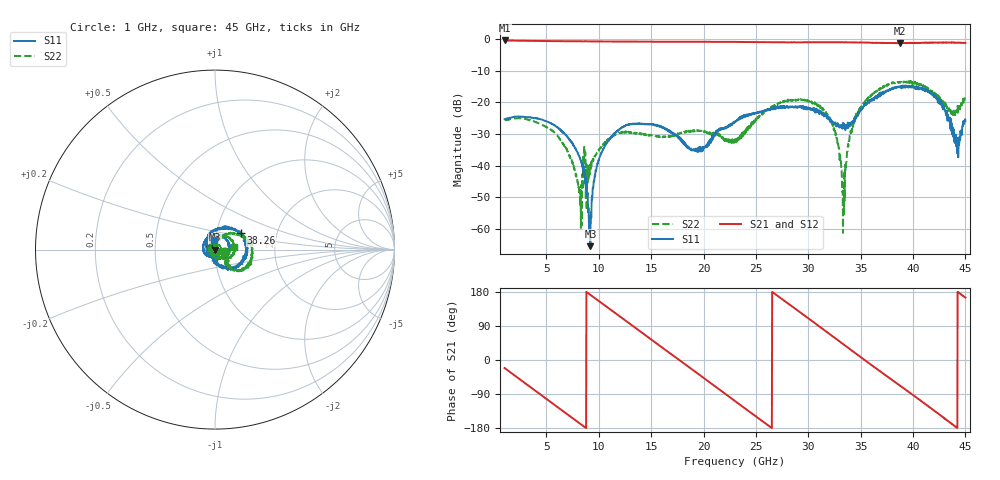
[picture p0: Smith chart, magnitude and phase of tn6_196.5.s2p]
!Keysight Technologies,N5247B,MY61255062,A.19.80.06
!Date: Thursday, May 21, 2026 11:56:29
!Correction: S11(Cdelta 2-Port  )
!S21(Cdelta 2-Port  )
!S12(Cdelta 2-Port  )
!S22(Cdelta 2-Port  )
!S2P File: Measurements: S11, S21, S12, S22:
# Hz S  dB  R 50
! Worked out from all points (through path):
!   1601 points, 1 GHz to 45 GHz, reference 50 ohm
!   highest |S21| = -0.49 dB at 1 GHz (marker M1); lowest = -1.4 dB at 38.78 GHz (marker M2)
!   group delay of S21, straight-line fit = 56.4 ps
!   lowest |S11| = -65.4 dB at 9.195 GHz (marker M3), VSWR 1.00, Z = 50 - j0.0533 ohm
!   |S11| at or under -10 dB: start of sweep to end of sweep
!   |S22| runs from -61.2 to -13.2 dB; largest |S21 - S12| = 0.015
!   S11 on the Smith chart (normalised r, x): 1 GHz: 1.11, -0.03; 38.26 GHz: 1.31, +0.25; 45 GHz: 0.99, +0.10
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1e9  -25.29 -13.0  -0.49 -21.2  -0.49 -21.2  -25.46 -13.1
4.6025e9  -25.50 -94.5  -0.66 -94.8  -0.66 -94.8  -27.18 -95.0
6.7475e9  -29.90 -143.9  -0.71 -138.4  -0.71 -138.4  -33.67 -151.6
8.3425e9  -39.18 -172.9  -0.77 -170.9  -0.77 -170.9  -45.96 120.7
9.195e9  -65.35 -80.4  -0.78 171.9  -0.78 171.8  -41.69 -3.4
9.8e9  -40.31 -34.3  -0.79 159.6  -0.80 159.6  -35.94 -27.3
1.09275e10  -32.14 -56.8  -0.82 136.7  -0.82 136.7  -31.54 -57.3
1.32925e10  -26.81 -114.6  -0.84 88.8  -0.84 88.8  -29.72 -134.8
1.5685e10  -27.33 -171.3  -0.89 40.1  -0.90 40.1  -30.76 137.3
1.89025e10  -34.96 57.3  -0.93 -24.8  -0.93 -24.9  -28.99 13.6
2.3e10  -26.01 -129.1  -0.94 -108.3  -0.95 -108.4  -32.21 -158.5
2.663e10  -21.65 112.8  -1.05 178.0  -1.04 178.0  -21.30 61.6
3.03425e10  -22.41 -1.9  -1.04 103.0  -1.06 103.0  -19.79 -20.7
3.235e10  -26.46 -79.9  -1.03 62.1  -1.07 62.0  -27.48 -61.5
3.33675e10  -27.79 -144.0  -1.07 41.2  -1.07 41.1  -49.70 31.6
3.45225e10  -24.65 143.7  -1.09 17.5  -1.11 17.4  -24.90 64.6
3.7685e10  -16.15 46.5  -1.29 -46.3  -1.27 -46.6  -14.36 13.8
3.82625e10  -15.36 32.7  -1.35 -57.6  -1.35 -58.0  -14.02 2.9
3.8785e10  -14.93 18.4  -1.35 -68.5  -1.33 -68.3  -13.52 -6.3
4.2195e10  -18.76 -56.4  -1.17 -137.4  -1.19 -137.1  -18.10 -49.4
4.4175e10  -32.51 178.3  -1.19 -178.2  -1.16 -178.5  -22.90 -9.4
4.5e10  -25.82 94.1  -1.27 164.5  -1.23 164.6  -19.22 8.5
